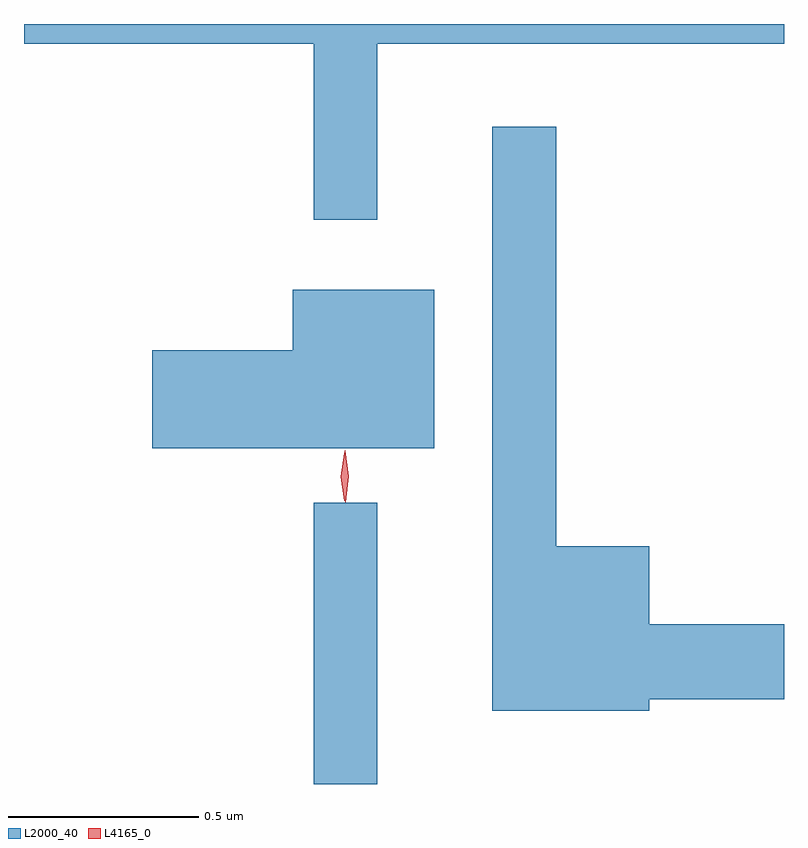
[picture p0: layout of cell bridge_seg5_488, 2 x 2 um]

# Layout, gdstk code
import gdstk
lib = gdstk.Library(unit=1e-6, precision=1e-09)
def R(c, l, rs):  # rectangles x0, y0, x1, y1
    for r in rs: c.add(gdstk.rectangle(r[:2], r[2:], *l))
def P(c, l, *ps):  # polygons
    for p in ps: c.add(gdstk.Polygon(p, *l))
L2000_40 = (2000, 40)
L4165_0 = (4165, 0)

bridge_seg5_488 = lib.new_cell('bridge_seg5_488')
R(bridge_seg5_488, L2000_40, [(510.611,1457.068,510.779,1457.808)])
P(bridge_seg5_488, L2000_40, [(510.779,1459.016),(511.849,1459.016),(511.849,1459.068),(509.849,1459.068),(509.849,1459.016),(510.611,1459.016),(510.611,1458.553),(510.779,1458.553)],
  [(511.494,1457.291),(511.849,1457.291),(511.849,1457.489),(511.494,1457.489),(511.494,1457.694),(511.249,1457.694),(511.249,1458.798),(511.081,1458.798),(511.081,1457.261),(511.494,1457.261)],
  [(510.929,1458.369),(510.556,1458.369),(510.556,1458.209),(510.186,1458.209),(510.186,1457.951),(510.929,1457.951)])
P(bridge_seg5_488, L4165_0, [(510.694,1457.81),(510.684,1457.878),(510.693,1457.945),(510.694,1457.946),(510.694,1457.945),(510.704,1457.878),(510.696,1457.81),(510.695,1457.81)],
  [(510.692,1457.813),(510.683,1457.876),(510.692,1457.939),(510.693,1457.94),(510.693,1457.939),(510.703,1457.876),(510.693,1457.813),(510.693,1457.813)])

lib.write_gds('bridge_seg5_488.gds')
